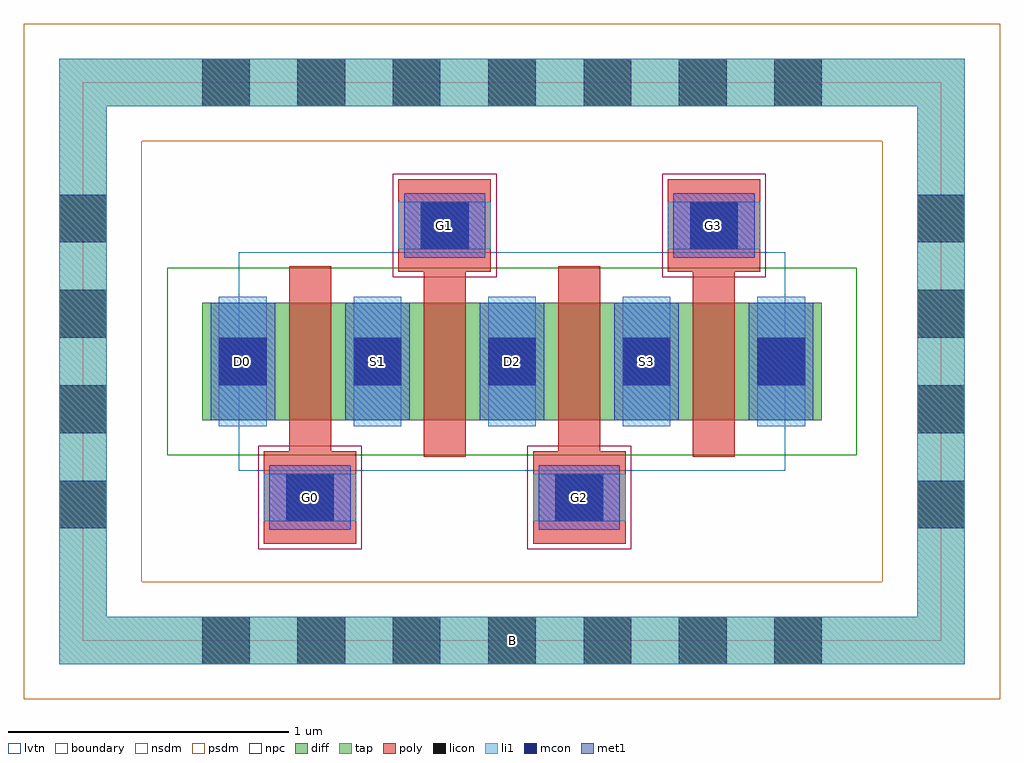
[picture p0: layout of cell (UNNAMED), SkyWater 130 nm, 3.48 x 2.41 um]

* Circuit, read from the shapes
.subckt (UNNAMED) B D0 D2 G0 G1 G2 G3 S1 S3
XM1 S1 G0 D0 B sky130_fd_pr__nfet_01v8_lvt w=0.42 l=0.15
XM2 D2 G1 S1 B sky130_fd_pr__nfet_01v8_lvt w=0.42 l=0.15
XM3 S3 G2 D2 B sky130_fd_pr__nfet_01v8_lvt w=0.42 l=0.15
XM4 n1 G3 S3 B sky130_fd_pr__nfet_01v8_lvt w=0.42 l=0.15
.ends

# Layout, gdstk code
import gdstk
lib = gdstk.Library(unit=1e-6, precision=1e-09)
def R(c, l, rs):  # rectangles x0, y0, x1, y1
    for r in rs: c.add(gdstk.rectangle(r[:2], r[2:], *l))
def A(c, l, x, y, w, h, nx, ny, dx, dy):  # array of equal rectangles
    R(c, l, [(x+i*dx, y+j*dy, x+i*dx+w, y+j*dy+h) for i in range(nx) for j in range(ny)])
diff = (65, 20)
tap = (65, 44)
poly = (66, 20)
licon = (66, 44)
li1 = (67, 20)
mcon = (67, 44)
met1 = (68, 20)
nsdm = (93, 44)
psdm = (94, 20)
npc = (95, 20)
lvtn = (125, 44)
boundary = (235, 4)

c__unnamed_ = lib.new_cell('(UNNAMED)')
R(c__unnamed_, diff, [(-1.105,-0.21,1.105,0.21)])
R(c__unnamed_, tap, [(-1.615,-1.08,1.615,-0.91), (-1.615,-0.91,-1.445,0.91), (1.445,-0.91,1.615,0.91), (-1.615,0.91,1.615,1.08)])
R(c__unnamed_, poly, [(-0.885,-0.65,-0.555,-0.32), (0.075,-0.65,0.405,-0.32), (-0.315,-0.34,-0.165,0.32), (0.645,-0.34,0.795,0.32), (-0.795,-0.32,-0.645,0.34), (0.165,-0.32,0.315,0.34), (-0.405,0.32,-0.075,0.65), (0.555,0.32,0.885,0.65)])
A(c__unnamed_, licon, -1.105, -1.08, 0.17, 0.17, 7, 2, 0.34, 1.99)
A(c__unnamed_, licon, -1.615, -0.595, 0.17, 0.17, 1, 4, 0, 0.34)
A(c__unnamed_, licon, 1.445, -0.595, 0.17, 0.17, 1, 4, 0, 0.34)
A(c__unnamed_, licon, -1.045, -0.085, 0.17, 0.17, 5, 1, 0.48, 0)
R(c__unnamed_, licon, [(-0.805,-0.57,-0.635,-0.4), (0.155,-0.57,0.325,-0.4), (-0.325,0.4,-0.155,0.57), (0.635,0.4,0.805,0.57)])
A(c__unnamed_, li1, -1.045, -0.23, 0.17, 0.46, 5, 1, 0.48, 0)
R(c__unnamed_, li1, [(-1.615,-1.08,1.615,-0.91), (-1.615,-0.91,-1.445,0.91), (1.445,-0.91,1.615,0.91), (-0.885,-0.57,-0.555,-0.4), (0.075,-0.57,0.405,-0.4), (-0.405,0.4,-0.075,0.57), (0.555,0.4,0.885,0.57), (-1.615,0.91,1.615,1.08)])
A(c__unnamed_, mcon, -1.045, -0.085, 0.17, 0.17, 5, 1, 0.48, 0)
R(c__unnamed_, mcon, [(-0.805,-0.57,-0.635,-0.4), (0.155,-0.57,0.325,-0.4), (-0.325,0.4,-0.155,0.57), (0.635,0.4,0.805,0.57)])
A(c__unnamed_, met1, -1.075, -0.21, 0.23, 0.42, 5, 1, 0.48, 0)
R(c__unnamed_, met1, [(-0.865,-0.6,-0.575,-0.37), (0.095,-0.6,0.385,-0.37), (-0.385,0.37,-0.095,0.6), (0.575,0.37,0.865,0.6)])
R(c__unnamed_, nsdm, [(-1.23,-0.335,1.23,0.335)])
R(c__unnamed_, psdm, [(-1.74,-1.205,1.74,-0.785), (-1.74,-0.785,-1.32,0.785), (1.32,-0.785,1.74,0.785), (-1.74,0.785,1.74,1.205)])
R(c__unnamed_, npc, [(-0.905,-0.67,-0.535,-0.3), (0.055,-0.67,0.425,-0.3), (-0.425,0.3,-0.055,0.67), (0.535,0.3,0.905,0.67)])
R(c__unnamed_, lvtn, [(-0.975,-0.39,0.975,0.39)])
R(c__unnamed_, boundary, [(-1.53,-0.995,1.53,0.995)])
c__unnamed_.add(gdstk.Label('B', (0,-0.995), layer=67, texttype=5))
c__unnamed_.add(gdstk.Label('D0', (-0.96,0), layer=67, texttype=5))
c__unnamed_.add(gdstk.Label('G0', (-0.72,-0.485), layer=67, texttype=5))
c__unnamed_.add(gdstk.Label('S1', (-0.48,0), layer=67, texttype=5))
c__unnamed_.add(gdstk.Label('G1', (-0.24,0.485), layer=67, texttype=5))
c__unnamed_.add(gdstk.Label('D2', (0,0), layer=67, texttype=5))
c__unnamed_.add(gdstk.Label('G2', (0.24,-0.485), layer=67, texttype=5))
c__unnamed_.add(gdstk.Label('S3', (0.48,0), layer=67, texttype=5))
c__unnamed_.add(gdstk.Label('G3', (0.72,0.485), layer=67, texttype=5))

lib.write_gds('_UNNAMED_.gds')
